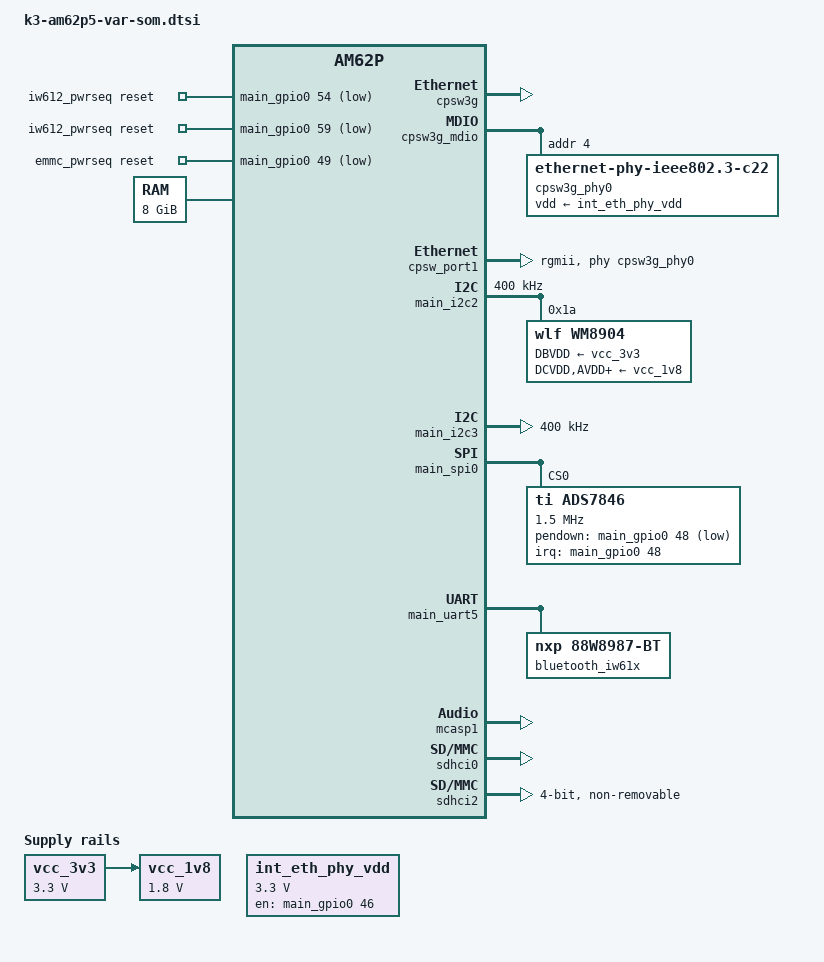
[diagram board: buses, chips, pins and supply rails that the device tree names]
// SPDX-License-Identifier: GPL-2.0
/*
 * VAR-SOM-AM62
 *
 * Copyright (C) 2021-2022 Texas Instruments Incorporated - https://www.ti.com/
 * Copyright (C) 2024-2025 Variscite Ltd. - https://www.variscite.com/
 */

/dts-v1/;

#include <dt-bindings/input/input.h>
#include <dt-bindings/leds/common.h>
#include <dt-bindings/gpio/gpio.h>
#include <dt-bindings/net/ti-dp83867.h>
#include "k3-am62p5.dtsi"

/ {
	compatible = "variscite,am62p-var-som", "ti,am62p5";

	iw612_pwrseq: iw612_pwrseq {
		compatible = "mmc-pwrseq-simple";
		post-power-on-delay-ms = <100>;
		power-off-delay-us = <10000>;
		reset-gpios = <&main_gpio0 54 GPIO_ACTIVE_LOW>,	/* WIFI_PWR_EN */
			      <&main_gpio0 59 GPIO_ACTIVE_LOW>;	/* WIFI_EN */
		status = "okay";
	};

	emmc_pwrseq: pwrseq@0 {
		compatible = "mmc-pwrseq-emmc";
		pinctrl-names = "default";
		pinctrl-0 = <&emmc_pwrseq_pins>;
		reset-gpios = <&main_gpio0 49 GPIO_ACTIVE_LOW>;
	};

	memory@80000000 {
		/* 8G RAM */
		reg = <0x00000000 0x80000000 0x00000000 0x80000000>,
		      <0x00000008 0x80000000 0x00000001 0x80000000>;
		device_type = "memory";
		bootph-pre-ram;
	};

	opp-table {
		/* Requires VDD_CORE at 0v85 */
		opp-1400000000 {
			opp-hz = /bits/ 64 <1400000000>;
			opp-supported-hw = <0x01 0x0004>;
			clock-latency-ns = <6000000>;
		};
	};

	reserved_memory: reserved-memory {
		#address-cells = <2>;
		#size-cells = <2>;
		ranges;

		rtos_ipc_memory_region: rtos-ipc-memory@9b500000 {
			compatible = "shared-dma-pool";
			reg = <0x00 0x9b500000 0x00 0x00300000>;
			no-map;
		};

		mcu_r5fss0_core0_dma_memory_region: mcu-r5fss-dma-memory-region@9b800000 {
			compatible = "shared-dma-pool";
			reg = <0x00 0x9b800000 0x00 0x100000>;
			no-map;
		};

		mcu_r5fss0_core0_memory_region: mcu-r5fss-memory-region@9b900000 {
			compatible = "shared-dma-pool";
			reg = <0x00 0x9b900000 0x00 0xf00000>;
			no-map;
		};

		wkup_r5fss0_core0_dma_memory_region: r5f-dma-memory@9c800000 {
			compatible = "shared-dma-pool";
			reg = <0x00 0x9c800000 0x00 0x100000>;
			no-map;
		};

		wkup_r5fss0_core0_memory_region: r5f-memory@9c900000 {
			compatible = "shared-dma-pool";
			reg = <0x00 0x9c900000 0x00 0x1e00000>;
			no-map;
		};

		secure_tfa_ddr: tfa@9e780000 {
			reg = <0x00 0x9e780000 0x00 0x80000>;
			no-map;
		};

		secure_ddr: optee@9e800000 {
			reg = <0x00 0x9e800000 0x00 0x01800000>; /* for OP-TEE */
			no-map;
		};
	};

	sound-wm8904 {
		compatible = "simple-audio-card";
		simple-audio-card,bitclock-master = <&dailink_master>;
		simple-audio-card,format = "dsp_b";
		simple-audio-card,frame-master = <&dailink_master>;
		simple-audio-card,name = "wm8904-audio";
		simple-audio-card,routing =
			"Headphone Jack", "HPOUTL",
			"Headphone Jack", "HPOUTR",
			"IN2L", "Line In Jack",
			"IN2R", "Line In Jack",
			"IN1L", "Microphone Jack",
			"IN1R", "Microphone Jack";
		simple-audio-card,widgets =
			"Microphone", "Microphone Jack",
			"Headphone", "Headphone Jack",
			"Line", "Line In Jack";
		simple-audio-card,mclk-fs = <256>;

		dailink_master: simple-audio-card,codec {
			sound-dai = <&wm8904>;
		};

		simple-audio-card,cpu {
			sound-dai = <&mcasp1>;
		};
	};

	vcc_3v3: vcc-3v3 {
		compatible = "regulator-fixed";
		regulator-name = "vcc_3v3";
		regulator-min-microvolt = <3300000>;
		regulator-max-microvolt = <3300000>;
		regulator-always-on;
		regulator-boot-on;
	};

	vcc_1v8: vcc-1v8 {
		compatible = "regulator-fixed";
		regulator-name = "vcc_1v8";
		regulator-min-microvolt = <1800000>;
		regulator-max-microvolt = <1800000>;
		vin-supply = <&vcc_3v3>;
		regulator-always-on;
		regulator-boot-on;
	};

	int_eth_phy_vdd: int-eth-phy-vdd {
		compatible = "regulator-fixed";
		regulator-name = "int_eth_phy_vdd";
		regulator-min-microvolt = <3300000>;
		regulator-max-microvolt = <3300000>;
		gpio = <&main_gpio0 46 GPIO_ACTIVE_HIGH>;
		enable-active-high;
		regulator-always-on;
		regulator-boot-on;
		status="okay";
	};
};

&cpsw3g {
	pinctrl-names = "default";
	pinctrl-0 = <&main_rgmii1_pins_default>;
	status = "okay";
};

&cpsw3g_mdio {
	status = "okay";
	pinctrl-names = "default";
	pinctrl-0 = <&main_mdio1_pins_default>;
	cpsw3g_phy0: ethernet-phy@4 {
		reg = <4>;
		compatible = "ethernet-phy-ieee802.3-c22";
		bootph-all;
		ti,min-output-impedance;
		enet-phy-lane-no-swap;
		vdd-supply = <&int_eth_phy_vdd>;
	};
};

&cpsw_port1 {
	phy-mode = "rgmii";
	phy-handle = <&cpsw3g_phy0>;
	status = "okay";
};

/* backport of audio_refclk1 from https://github.com/torvalds/linux/commit/6a02c9aa222ce0fff47f526686690f84b7a97f4e */
&main_conf {
	audio_refclk1: clock@82e4 {
		compatible = "ti,am62-audio-refclk";
		reg = <0x82e4 0x4>;
		clocks = <&k3_clks 157 18>;
		assigned-clocks = <&k3_clks 157 18>;
		assigned-clock-parents = <&k3_clks 157 33>;
		#clock-cells = <0>;
	};
};
/* end of backport */

&audio_refclk1 {
	assigned-clock-rates = <12000000>;
};

&main_i2c2 {
	pinctrl-names = "default";
	pinctrl-0 = <&main_i2c2_pins_default>;
	clock-frequency = <400000>;
	status = "okay";

	wm8904: audio-codec@1a {
		#sound-dai-cells = <0>;
		compatible = "wlf,wm8904";
		reg = <0x1a>;
		clocks = <&audio_refclk1>;
		clock-names = "mclk";
		DBVDD-supply = <&vcc_3v3>;
		DCVDD-supply = <&vcc_1v8>;
		AVDD-supply = <&vcc_1v8>;
		CPVDD-supply = <&vcc_1v8>;
		MICVDD-supply = <&vcc_1v8>;
		num-drc-cfgs = <5>;
		drc-cfg-names = "default", "peaklimiter", "tradition", "soft", "music";
		drc-cfg-regs =
				/* coded default: KNEE_IP = KNEE_OP = 0, HI_COMP = LO_COMP = 1  */
				<0x01af 0x3248 0x0000 0x0000>,
				/* coded default: KNEE_IP = -24, KNEE_OP = -6, HI_COMP = 1/4, LO_COMP = 1 */
				<0x04af 0x324b 0x0010 0x0408>,
				/* coded default: KNEE_IP = -42, KNEE_OP = -3, HI_COMP = 0, LO_COMP = 1 */
				<0x04af 0x324b 0x0028 0x0704>,
				/* coded default: KNEE_IP = -45, KNEE_OP = -9, HI_COMP = 1/8, LO_COMP = 1 */
				<0x04af 0x324b 0x0018 0x078c>,
				/* coded default: KNEE_IP = -30, KNEE_OP = -10.5, HI_COMP = 1/4, LO_COMP = 1 */
				<0x04af 0x324b 0x0010 0x050e>;
		gpio-cfg = <
			0x0018 /* GPIO1 => DMIC_CLK */
			0xffff /* GPIO2 => don't touch */
			0xffff /* GPIO3 => don't touch */
			0xffff /* GPIO4 => don't touch */
		>;
		status = "okay";
	};
};

&main_i2c3 {
	pinctrl-names = "default";
	pinctrl-0 = <&main_i2c3_pins_default>;
	clock-frequency = <400000>;
	status = "okay";
};

&main_pmx0 {
	emmc_pwrseq_pins: pinmux_emmc_pwrseq_pins {
		pinctrl-single,pins = <
			AM62PX_IOPAD(0x00c8, PIN_OUTPUT, 7) /* (AB23) VOUT0_DATA4.GPIO0_49 */
		>;
	};

	main_i2c2_pins_default: main-i2c2-default-pins {
		pinctrl-single,pins = <
			AM62PX_IOPAD(0x00b0, PIN_INPUT_PULLUP, 1) /* (T22) GPMC0_CSn2.I2C2_SCL */
			AM62PX_IOPAD(0x00b4, PIN_INPUT_PULLUP, 1) /* (U25) GPMC0_CSn3.I2C2_SDA */
		>;
	};

	main_i2c3_pins_default: main-i2c3-pins-default {
		pinctrl-single,pins = <
			AM62PX_IOPAD(0x01d0, PIN_INPUT_PULLUP, 2) /* (A23) UART0_CTSn.I2C3_SCL */
			AM62PX_IOPAD(0x01d4, PIN_INPUT_PULLUP, 2) /* (C22) UART0_RTSn.I2C3_SDA */
		>;
	};

	main_mcasp1_pins_default: main-mcasp1-pins-default {
		pinctrl-single,pins = <
			AM62PX_IOPAD(0x0090, PIN_INPUT, 2) /* (U24) GPMC0_BE0n_CLE.MCASP1_ACLKX */
			AM62PX_IOPAD(0x0098, PIN_INPUT, 2) /* (AA24) GPMC0_WAIT0.MCASP1_AFSX */
			AM62PX_IOPAD(0x008c, PIN_OUTPUT, 2) /* (T25) GPMC0_WEn.MCASP1_AXR0 */
			AM62PX_IOPAD(0x0084, PIN_INPUT, 2) /* (R25) GPMC0_ADVn_ALE.MCASP1_AXR2 */
			AM62PX_IOPAD(0x00a0, PIN_OUTPUT, 1) /* (P24) GPMC0_WPn.AUDIO_EXT_REFCLK1 */
		>;
	};

	main_mdio1_pins_default: main-mdio1-pins-default {
		pinctrl-single,pins = <
			AM62PX_IOPAD(0x0160, PIN_OUTPUT, 0) /* (F17) MDIO0_MDC */
			AM62PX_IOPAD(0x015c, PIN_INPUT, 0)  /* (F16) MDIO0_MDIO */
			AM62PX_IOPAD(0x00bc, PIN_INPUT, 7)  /* (U8)  GPIO0_46 */
		>;
		bootph-all;
	};

	main_mmc2_pins_default: main-mmc2-pins-default {
		pinctrl-single,pins = <
			AM62PX_IOPAD(0x0120, PIN_INPUT_PULLUP, 0) /* (K24) MMC2_CMD */
			AM62PX_IOPAD(0x0118, PIN_INPUT_PULLDOWN, 0) /* (K21) MMC2_CLK */
			AM62PX_IOPAD(0x011C, PIN_INPUT_PULLUP, 0) /* () MMC2_CLKLB */
			AM62PX_IOPAD(0x0114, PIN_INPUT_PULLUP, 0) /* (K23) MMC2_DAT0 */
			AM62PX_IOPAD(0x0110, PIN_INPUT_PULLUP, 0) /* (K22) MMC2_DAT1 */
			AM62PX_IOPAD(0x010c, PIN_INPUT_PULLUP, 0) /* (L20) MMC2_DAT2 */
			AM62PX_IOPAD(0x0108, PIN_INPUT_PULLUP, 0) /* (L21) MMC2_DAT3 */
		>;
	};

	main_rgmii1_pins_default: main-rgmii1-default-pins {
		pinctrl-single,pins = <
			AM62PX_IOPAD(0x014c, PIN_INPUT, 0) /* (B15) RGMII1_RD0 */
			AM62PX_IOPAD(0x0150, PIN_INPUT, 0) /* (B16) RGMII1_RD1 */
			AM62PX_IOPAD(0x0154, PIN_INPUT, 0) /* (A14) RGMII1_RD2 */
			AM62PX_IOPAD(0x0158, PIN_INPUT, 0) /* (B14) RGMII1_RD3 */
			AM62PX_IOPAD(0x0148, PIN_INPUT, 0) /* (A16) RGMII1_RXC */
			AM62PX_IOPAD(0x0144, PIN_INPUT, 0) /* (A15) RGMII1_RX_CTL */
			AM62PX_IOPAD(0x0134, PIN_INPUT, 0) /* (A18) RGMII1_TD0 */
			AM62PX_IOPAD(0x0138, PIN_INPUT, 0) /* (C17) RGMII1_TD1 */
			AM62PX_IOPAD(0x013c, PIN_INPUT, 0) /* (A17) RGMII1_TD2 */
			AM62PX_IOPAD(0x0140, PIN_INPUT, 0) /* (C16) RGMII1_TD3 */
			AM62PX_IOPAD(0x0130, PIN_INPUT, 0) /* (B17) RGMII1_TXC */
			AM62PX_IOPAD(0x012c, PIN_INPUT, 0) /* (B18) RGMII1_TX_CTL */
		>;
		bootph-all;
	};

	main_spi0_pins_default: main_spi0-pins-default {
		pinctrl-single,pins = <
			AM62PX_IOPAD(0x01bc, PIN_OUTPUT, 0) /* (B21) SPI0_CLK */
			AM62PX_IOPAD(0x01b4, PIN_OUTPUT, 0) /* (D20) SPI0_CS0 */
			AM62PX_IOPAD(0x01c0, PIN_OUTPUT, 0) /* (B20) SPI0_D0 */
			AM62PX_IOPAD(0x01c4, PIN_INPUT, 0) /* (C21) SPI0_D1 */
		>;
	};

	main_uart5_pins_default: uart5-pins-default {
		pinctrl-single,pins = <
			AM62PX_IOPAD(0x00ec, PIN_INPUT, 4) /* (AC21) VOUT0_DATA13.UART5_CTSn */
			AM62PX_IOPAD(0x00e8, PIN_OUTPUT, 4) /* (AD21) VOUT0_DATA12.UART5_RTSn */
			AM62PX_IOPAD(0x00d0, PIN_INPUT, 4) /* (AC23) VOUT0_DATA6.UART5_RXD */
			AM62PX_IOPAD(0x00d4, PIN_OUTPUT, 4) /* (AE23) VOUT0_DATA7.UART5_TXD */
		>;
	};

	pinctrl_bt: btgrp {
		pinctrl-single,pins = <
			AM62PX_IOPAD(0x00f4, PIN_OUTPUT, 7) /* (Y20) VOUT0_DATA15.GPIO0_60 (BT_EN) */
		>;
	};

	pinctrl_restouch: restouchgrp {
		pinctrl-single,pins = <
			AM62PX_IOPAD(0x00c4, PIN_INPUT_PULLUP, 7) /* (Y23) VOUT0_DATA3.GPIO0_48 */
		>;
	};

	pinctrl_wifi: pinctrl-wifi-default {
		pinctrl-single,pins = <
			AM62PX_IOPAD(0x00dc, PIN_OUTPUT, 7) /* (AC22) VOUT0_DATA9.GPIO0_54 - WIFI_PWR_EN - */
			AM62PX_IOPAD(0x00f0, PIN_OUTPUT, 7) /* (AA20) VOUT0_DATA14.GPIO0_59 - WIFI_EN - */
		>;
	};
};

&main_spi0 {
	status = "okay";
	pinctrl-names = "default";
	pinctrl-0 = <&main_spi0_pins_default>;
	ti,pindir-d0-out-d1-in = <1>;

	/* Resistive touch controller */
	ads7846@0 {
		compatible = "ti,ads7846";
		reg = <0>;
		pinctrl-names = "default";
		pinctrl-0 = <&pinctrl_restouch>;
		interrupt-parent = <&main_gpio0>;
		interrupts = <48 IRQ_TYPE_EDGE_FALLING>;
		spi-max-frequency = <1500000>;
		pendown-gpio = <&main_gpio0 48 GPIO_ACTIVE_LOW>;
		ti,x-min = /bits/ 16 <125>;
		ti,x-max = /bits/ 16 <4008>;
		ti,y-min = /bits/ 16 <282>;
		ti,y-max = /bits/ 16 <3864>;
		ti,x-plate-ohms = /bits/ 16 <180>;
		ti,pressure-max = /bits/ 16 <255>;
		ti,debounce-max = /bits/ 16 <10>;
		ti,debounce-tol = /bits/ 16 <3>;
		ti,debounce-rep = /bits/ 16 <1>;
		ti,settle-delay-usec = /bits/ 16 <150>;
		ti,keep-vref-on;
		wakeup-source;
		status = "okay";
	};
};

&main_uart5 {
	pinctrl-names = "default";
	pinctrl-0 = <&main_uart5_pins_default>, <&pinctrl_bt>;
	uart-has-rtscts;
	status = "okay";

	bluetooth_iw61x: bluetooth_iw61x {
		compatible = "nxp,88w8987-bt";
		status = "okay";
	};
};

&mcasp1 {
	status = "okay";
	#sound-dai-cells = <0>;

	pinctrl-names = "default";
	pinctrl-0 = <&main_mcasp1_pins_default>;

	op-mode = <0>;          /* MCASP_IIS_MODE */
	tdm-slots = <2>;

	serial-dir = <  /* 0: INACTIVE, 1: TX, 2: RX */
	       1 0 2 0
	       0 0 0 0
	       0 0 0 0
	       0 0 0 0
	>;
	tx-num-evt = <0>;
	rx-num-evt = <0>;
};

&mcu_pmx0 {
	bootph-all;

	wkup_clkout0_pins_default: wkup_clkout0_pins_default {
		pinctrl-single,pins = <
			AM62PX_MCU_IOPAD(0x0084, PIN_OUTPUT, 0) /* (F13) WKUP_CLKOUT0 */
		>;
	};
};

/* eMMC */
&sdhci0 {
	status = "okay";
	ti,driver-strength-ohm = <50>;
	mmc-pwrseq = <&emmc_pwrseq>;
	bootph-all;
};

/* WIFI */
&sdhci2 {
	pinctrl-names = "default";
	pinctrl-0 = <&main_mmc2_pins_default>, <&pinctrl_wifi>;
	bus-width = <4>;
	non-removable;
	keep-power-in-suspend;
	mmc-pwrseq = <&iw612_pwrseq>;
	ti,fails-without-test-cd;
	status = "okay";
};

&usbss0 {
	ti,vbus-divider;
};

&usbss1 {
	ti,vbus-divider;
};
